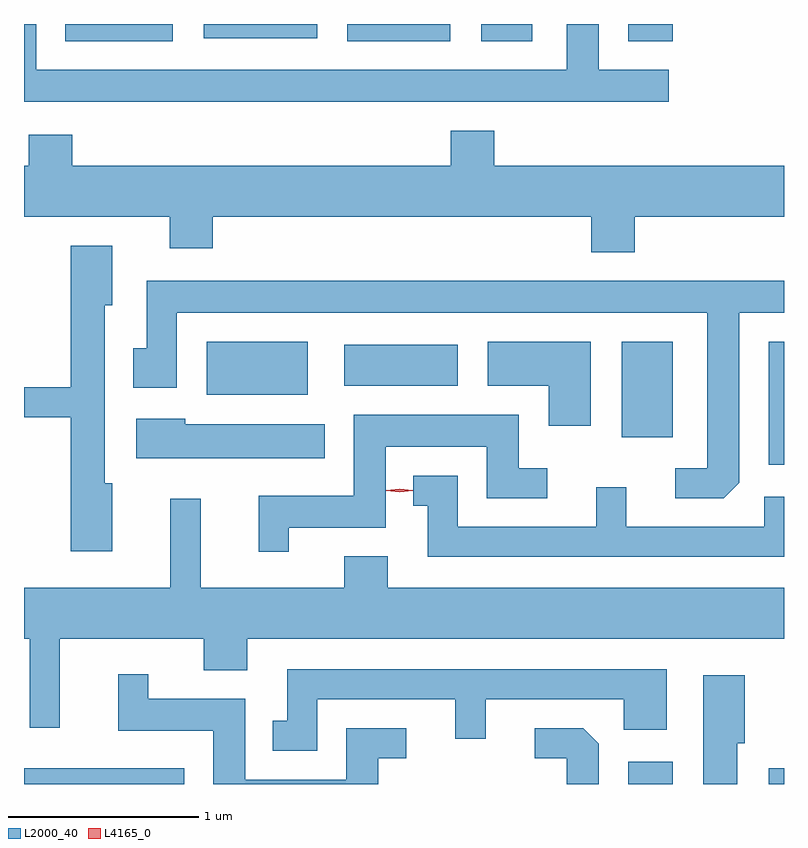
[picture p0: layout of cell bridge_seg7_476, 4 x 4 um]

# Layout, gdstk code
import gdstk
lib = gdstk.Library(unit=1e-6, precision=1e-09)
def R(c, l, rs):  # rectangles x0, y0, x1, y1
    for r in rs: c.add(gdstk.rectangle(r[:2], r[2:], *l))
def P(c, l, *ps):  # polygons
    for p in ps: c.add(gdstk.Polygon(p, *l))
L2000_40 = (2000, 40)
L4165_0 = (4165, 0)

bridge_seg7_476 = lib.new_cell('bridge_seg7_476')
R(bridge_seg7_476, L2000_40, [(1446.035,1709.111,1446.879,1709.194), (1449.216,1709.111,1449.449,1709.229), (1449.956,1709.111,1450.035,1709.194), (1449.956,1710.791,1450.035,1711.439), (1449.181,1710.936,1449.449,1711.439), (1446.996,1711.161,1447.529,1711.439), (1447.721,1711.206,1448.319,1711.424), (1446.251,1713.021,1446.819,1713.111), (1447.736,1713.021,1448.279,1713.111), (1448.441,1713.021,1448.709,1713.111), (1449.216,1713.021,1449.449,1713.111), (1446.981,1713.036,1447.579,1713.111)])
P(bridge_seg7_476, L2000_40, [(1449.428,1712.869),(1449.059,1712.869),(1449.059,1713.111),(1448.891,1713.111),(1448.891,1712.869),(1446.099,1712.869),(1446.099,1713.111),(1446.035,1713.111),(1446.035,1712.701),(1449.428,1712.701)],
  [(1449.249,1712.096),(1450.035,1712.096),(1450.035,1712.364),(1448.509,1712.364),(1448.509,1712.549),(1448.281,1712.549),(1448.281,1712.364),(1446.289,1712.364),(1446.289,1712.529),(1446.061,1712.529),(1446.061,1712.364),(1446.035,1712.364),(1446.035,1712.096),(1446.801,1712.096),(1446.801,1711.931),(1447.029,1711.931),(1447.029,1712.096),(1449.021,1712.096),(1449.021,1711.911),(1449.249,1711.911)],
  [(1446.499,1710.694),(1446.459,1710.694),(1446.459,1711.631),(1446.499,1711.631),(1446.499,1711.944),(1446.281,1711.944),(1446.281,1711.199),(1446.035,1711.199),(1446.035,1711.041),(1446.281,1711.041),(1446.281,1710.336),(1446.499,1710.336)],
  [(1449.799,1710.697),(1449.799,1711.591),(1450.035,1711.591),(1450.035,1711.759),(1446.681,1711.759),(1446.681,1711.404),(1446.611,1711.404),(1446.611,1711.196),(1446.839,1711.196),(1446.839,1711.591),(1449.631,1711.591),(1449.631,1710.774),(1449.463,1710.774),(1449.463,1710.616),(1449.719,1710.616)],
  [(1449.019,1711.439),(1448.476,1711.439),(1448.476,1711.206),(1448.796,1711.206),(1448.796,1710.996),(1449.019,1710.996)],
  [(1447.429,1710.461),(1447.939,1710.461),(1447.939,1710.886),(1448.471,1710.886),(1448.471,1710.616),(1448.788,1710.616),(1448.788,1710.774),(1448.639,1710.774),(1448.639,1711.054),(1447.771,1711.054),(1447.771,1710.629),(1447.271,1710.629),(1447.271,1710.333),(1447.429,1710.333)],
  [(1447.619,1711.004),(1446.884,1711.004),(1446.884,1711.034),(1446.626,1711.034),(1446.626,1710.826),(1447.619,1710.826)],
  [(1450.035,1710.624),(1449.931,1710.624),(1449.931,1710.464),(1449.204,1710.464),(1449.204,1710.673),(1449.046,1710.673),(1449.046,1710.464),(1448.319,1710.464),(1448.319,1710.734),(1448.083,1710.734),(1448.083,1710.576),(1448.161,1710.576),(1448.161,1710.306),(1450.035,1710.306)],
  [(1446.224,1709.876),(1446.981,1709.876),(1446.981,1709.711),(1447.209,1709.711),(1447.209,1709.876),(1450.035,1709.876),(1450.035,1710.144),(1447.949,1710.144),(1447.949,1710.309),(1447.721,1710.309),(1447.721,1710.144),(1446.964,1710.144),(1446.964,1710.613),(1446.806,1710.613),(1446.806,1710.144),(1446.035,1710.144),(1446.035,1709.876),(1446.066,1709.876),(1446.066,1709.408),(1446.224,1709.408)],
  [(1447.579,1709.556),(1448.306,1709.556),(1448.306,1709.348),(1448.464,1709.348),(1448.464,1709.556),(1449.191,1709.556),(1449.191,1709.396),(1449.419,1709.396),(1449.419,1709.714),(1447.421,1709.714),(1447.421,1709.444),(1447.343,1709.444),(1447.343,1709.286),(1447.579,1709.286)],
  [(1447.899,1709.246),(1448.048,1709.246),(1448.048,1709.404),(1447.731,1709.404),(1447.731,1709.134),(1447.199,1709.134),(1447.199,1709.559),(1446.689,1709.559),(1446.689,1709.688),(1446.531,1709.688),(1446.531,1709.391),(1447.031,1709.391),(1447.031,1709.111),(1447.899,1709.111)],
  [(1449.789,1709.326),(1449.829,1709.326),(1449.829,1709.684),(1449.611,1709.684),(1449.611,1709.111),(1449.789,1709.111)],
  [(1449.059,1709.324),(1448.979,1709.404),(1448.723,1709.404),(1448.723,1709.246),(1448.891,1709.246),(1448.891,1709.111),(1449.059,1709.111)])
P(bridge_seg7_476, L4165_0, [(1448.012,1710.646),(1447.942,1710.655),(1447.942,1710.656),(1447.942,1710.656),(1448.012,1710.666),(1448.081,1710.656),(1448.081,1710.656),(1448.081,1710.655)])

lib.write_gds('bridge_seg7_476.gds')
